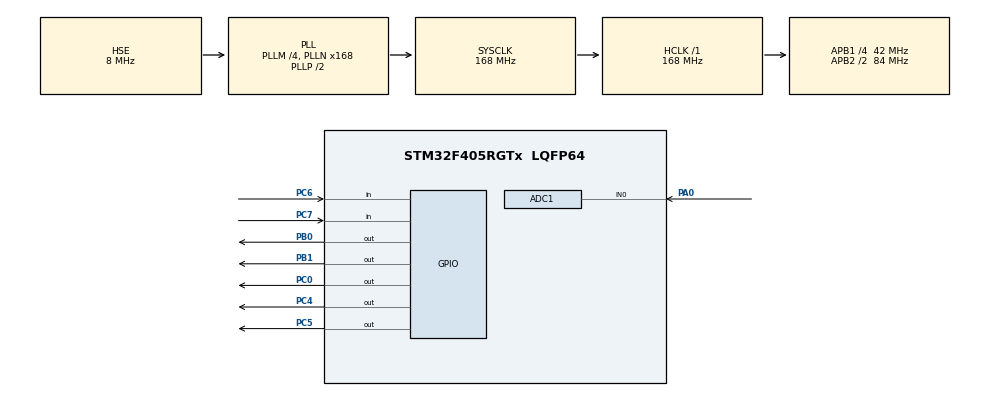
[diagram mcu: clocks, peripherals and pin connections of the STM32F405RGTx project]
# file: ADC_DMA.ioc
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Mcu.Family=STM32F4
RCC.PLLSourceVirtual=RCC_PLLSOURCE_HSE
PH0-OSC_IN.Signal=RCC_OSC_IN
Dma.ADC1.0.Instance=DMA2_Stream0
RCC.CortexFreq_Value=168000000
ADC1.Rank-0\#ChannelRegularConversion=1
ADC1.ContinuousConvMode=ENABLE
PC4.Signal=GPIO_Output
PC6.Signal=GPIO_Input
PC0.Signal=GPIO_Output
RCC.APB1CLKDivider=RCC_HCLK_DIV4
RCC.SYSCLKSource=RCC_SYSCLKSOURCE_PLLCLK
ProjectManager.StackSize=0x400
PA0-WKUP.Signal=ADCx_IN0
PA13.Signal=SYS_JTMS-SWDIO
Dma.ADC1.0.PeriphDataAlignment=DMA_PDATAALIGN_HALFWORD
ProjectManager.TargetToolchain=EWARM V8.32
Dma.ADC1.0.Mode=DMA_CIRCULAR
RCC.HCLKFreq_Value=168000000
Dma.ADC1.0.Priority=DMA_PRIORITY_LOW
RCC.APB2TimFreq_Value=168000000
Dma.ADC1.0.Direction=DMA_PERIPH_TO_MEMORY
PC7.Signal=GPIO_Input
NVIC.DMA2_Stream0_IRQn=true\:0\:0\:false\:false\:true\:false\:true
RCC.LSE_VALUE=32768
Dma.ADC1.0.MemDataAlignment=DMA_MDATAALIGN_HALFWORD
RCC.AHBFreq_Value=168000000
PH0-OSC_IN.Mode=HSE-External-Oscillator
ADC1.Channel-0\#ChannelRegularConversion=ADC_CHANNEL_0
RCC.HSE_VALUE=8000000
board=custom
RCC.VCOOutputFreq_Value=336000000
RCC.APB2Freq_Value=84000000
PA14.Mode=Serial_Wire
Dma.ADC1.0.PeriphInc=DMA_PINC_DISABLE
PH1-OSC_OUT.Signal=RCC_OSC_OUT
SH.ADCx_IN0.0=ADC1_IN0,IN0
ADC1.DMAContinuousRequests=ENABLE
PA13.Mode=Serial_Wire
Mcu.Name=STM32F405RGTx
ADC1.SamplingTime-0\#ChannelRegularConversion=ADC_SAMPLETIME_56CYCLES
PH1-OSC_OUT.Mode=HSE-External-Oscillator
RCC.48MHZClocksFreq_Value=84000000
RCC.SYSCLKFreq_VALUE=168000000
Mcu.Package=LQFP64
PB1.Signal=GPIO_Output
ADC1.master=1
PA14.Signal=SYS_JTCK-SWCLK
Dma.ADC1.0.MemInc=DMA_MINC_ENABLE
ProjectManager.HeapSize=0x200
RCC.HSI_VALUE=16000000
NVIC.PriorityGroup=NVIC_PRIORITYGROUP_4
ADC1.NbrOfConversionFlag=1
RCC.APB2CLKDivider=RCC_HCLK_DIV2
RCC.PLLM=4
RCC.PLLN=168
RCC.APB1TimFreq_Value=84000000
Dma.ADC1.0.FIFOMode=DMA_FIFOMODE_DISABLE
PC5.Signal=GPIO_Output
RCC.APB1Freq_Value=42000000
Dma.Request0=ADC1
PB0.Signal=GPIO_Output

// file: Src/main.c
/* USER CODE BEGIN Header */
/**
  ******************************************************************************
  * @file           : main.c
  * @brief          : Main program body
  ******************************************************************************
  * @attention
  *
  * <h2><center>&copy; Copyright (c) 2020 STMicroelectronics.
  * All rights reserved.</center></h2>
  *
  * This software component is licensed by ST under BSD 3-Clause license,
  * the "License"; You may not use this file except in compliance with the
  * License. You may obtain a copy of the License at:
  *                        opensource.org/licenses/BSD-3-Clause
  *
  ******************************************************************************
  */
/* USER CODE END Header */

#include "main.h"
#include "adc.h"
#include "dma.h"
#include "gpio.h"

/* USER CODE BEGIN Includes */
#include "stdio.h"
#include "lcd.h"
/* USER CODE END Includes */

void SystemClock_Config(void);

int main(void)
{
  /* USER CODE BEGIN 1 */
  uint16_t adData;
  char str[16];
  int clearCheck=0;
  /* USER CODE END 1 */

  /* MCU Configuration--------------------------------------------------------*/

  /* Reset of all peripherals, Initializes the Flash interface and the Systick. */
  HAL_Init();

  /* Configure the system clock */
  SystemClock_Config();

  /* Initialize all configured peripherals */
  MX_GPIO_Init();
  MX_DMA_Init();
  MX_ADC1_Init();
  /* USER CODE BEGIN 2 */
  lcdInit();
  HAL_ADC_Start_DMA(&hadc1, (uint32_t*)&adData, sizeof(adData)); // DMA continous Request, continous conversion mode enable => enable and Rank Sampling Time 56 cycles
  /* USER CODE END 2 */

  /* Infinite loop */
  /* USER CODE BEGIN WHILE */
  while (1)
  {
    if(adData < 1000 && clearCheck==0)
    {
      clearCheck=1;
      lcdClear();
    }
    else if(adData > 1000) clearCheck=0;

    lcdGotoXY(0, 0);
    sprintf(str, "Cds : %d", adData);
    lcdPrint(str);

    if(adData < 600) HAL_GPIO_WritePin(GPIOC, GPIO_PIN_0, GPIO_PIN_SET);
    else HAL_GPIO_WritePin(GPIOC, GPIO_PIN_0, GPIO_PIN_RESET);;

    HAL_Delay(100);
    /* USER CODE END WHILE */

  }
}

void SystemClock_Config(void)
{
  RCC_OscInitTypeDef RCC_OscInitStruct = {0};
  RCC_ClkInitTypeDef RCC_ClkInitStruct = {0};

  /** Configure the main internal regulator output voltage
  */
  __HAL_RCC_PWR_CLK_ENABLE();
  __HAL_PWR_VOLTAGESCALING_CONFIG(PWR_REGULATOR_VOLTAGE_SCALE1);
  /** Initializes the CPU, AHB and APB busses clocks
  */
  RCC_OscInitStruct.OscillatorType = RCC_OSCILLATORTYPE_HSE;
  RCC_OscInitStruct.HSEState = RCC_HSE_ON;
  RCC_OscInitStruct.PLL.PLLState = RCC_PLL_ON;
  RCC_OscInitStruct.PLL.PLLSource = RCC_PLLSOURCE_HSE;
  RCC_OscInitStruct.PLL.PLLM = 4;
  RCC_OscInitStruct.PLL.PLLN = 168;
  RCC_OscInitStruct.PLL.PLLP = RCC_PLLP_DIV2;
  RCC_OscInitStruct.PLL.PLLQ = 4;
  if (HAL_RCC_OscConfig(&RCC_OscInitStruct) != HAL_OK)
  {
    Error_Handler();
  }
  /** Initializes the CPU, AHB and APB busses clocks
  */
  RCC_ClkInitStruct.ClockType = RCC_CLOCKTYPE_HCLK|RCC_CLOCKTYPE_SYSCLK
                              |RCC_CLOCKTYPE_PCLK1|RCC_CLOCKTYPE_PCLK2;
  RCC_ClkInitStruct.SYSCLKSource = RCC_SYSCLKSOURCE_PLLCLK;
  RCC_ClkInitStruct.AHBCLKDivider = RCC_SYSCLK_DIV1;
  RCC_ClkInitStruct.APB1CLKDivider = RCC_HCLK_DIV4;
  RCC_ClkInitStruct.APB2CLKDivider = RCC_HCLK_DIV2;

  if (HAL_RCC_ClockConfig(&RCC_ClkInitStruct, FLASH_LATENCY_5) != HAL_OK)
  {
    Error_Handler();
  }
}

void Error_Handler(void)
{
}

/************************ (C) COPYRIGHT STMicroelectronics *****END OF FILE****/
